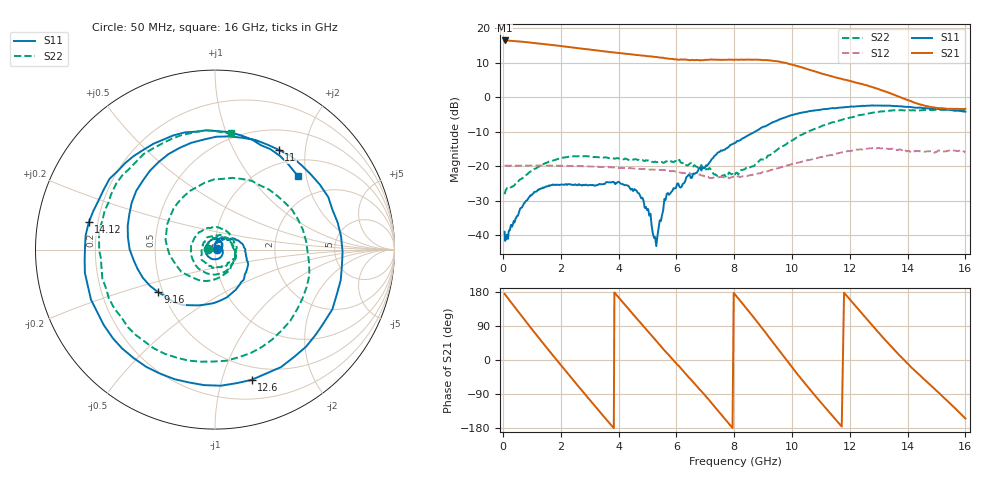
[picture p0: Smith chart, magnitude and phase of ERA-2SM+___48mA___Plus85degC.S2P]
! Mini-Circuits
! S2P DATA File Format
! Type: MMIC Amplifier
! Model: ERA-2SM  Reference Data:RDF-874AA
! Note: All S Parameters are in dB deg format
! TEST CONDITIONS: INPUT POWER = -20dBm, Icc = 48mA, Vd = 3.32V @Temperature = +85degC
! 401 Frequency points
# MHz S DB R 50
!  FREQ  dB(S11)  PHS(S11)  dB(S21)  PHS(S21)  dB(S12)  PHS(S12)  dB(S22)  PHS(S22)
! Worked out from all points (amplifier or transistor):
!   401 points, 50 MHz to 16 GHz, reference 50 ohm
!   highest |S21| = 16.4 dB at 50 MHz (marker M1)
!   |S21| within 3 dB of that: start of sweep to 3.35 GHz
!   unconditionally stable (mu >= 1): start of sweep to 10.26 GHz; 14.89947 GHz to 14.9578 GHz; 15.13 GHz to end of sweep
!   at 1.37 GHz: K = 1.11, MAG = 15.6 dB, |S12| = -19.8 dB
!   at 4.1 GHz: K = 1.40, MAG = 12.9 dB, |S12| = -20.5 dB
!   at 16 GHz: K = 1.28, MAG = 3.1 dB, |S12| = -15.9 dB
!   S11 on the Smith chart (normalised r, x): 50 MHz: 1.02, +0.00; 9.16 GHz: 0.47, -0.26; 11 GHz: 0.78, +1.53; 12.6 GHz: 0.37, -1.25; 14.12 GHz: 0.16, +0.10; 16 GHz: 1.36, +1.80
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50  -38.99 11.0  16.45 174.5  -19.81 -4.0  -28.11 172.3
830  -29.88 15.8  15.94 97.2  -19.80 -57.1  -22.37 65.3
1630  -25.58 -51.9  15.20 20.8  -19.81 -112.7  -18.57 -17.8
2110  -25.38 -96.8  14.72 -24.0  -19.86 -146.3  -17.50 -61.9
2710  -25.47 -160.8  14.10 -79.2  -19.97 171.6  -17.14 -115.2
3350  -25.23 129.4  13.45 -137.1  -20.16 126.4  -17.48 -172.3
3850  -24.87 78.7  12.97 178.2  -20.35 91.4  -17.77 143.4
4620  -27.13 22.9  12.23 110.0  -20.74 37.0  -17.99 82.1
5380  -37.98 90.3  11.55 43.1  -21.03 -16.6  -18.74 31.0
6060  -24.99 59.8  10.85 -14.5  -21.57 -67.0  -18.36 -16.1
6820  -20.37 39.4  10.68 -79.3  -22.36 -118.2  -20.36 -89.8
8060  -13.06 -42.2  10.90 169.8  -23.20 167.7  -21.90 91.9
8680  -10.18 -99.3  10.88 111.7  -22.34 129.7  -19.97 6.5
9160  -8.04 -143.3  10.74 64.3  -21.46 98.9  -16.93 -54.3
9800  -5.74 157.5  9.91 0.4  -19.80 53.3  -13.63 -136.5
10760  -3.86 76.5  7.56 -90.7  -17.82 -20.7  -9.28 120.6
11000  -3.61 57.4  6.90 -112.3  -17.37 -40.5  -8.46 98.5
11720  -2.96 -1.0  5.30 -175.7  -16.00 -98.2  -6.57 33.9
12600  -2.46 -74.3  3.40 106.9  -14.94 -175.0  -4.77 -43.5
13400  -2.46 -139.1  1.13 38.5  -15.01 115.9  -3.89 -109.5
14120  -2.86 167.8  -1.16 -19.0  -16.05 57.6  -3.82 -160.4
16000  -4.19 41.3  -3.36 -154.5  -15.89 -80.3  -3.70 82.0
